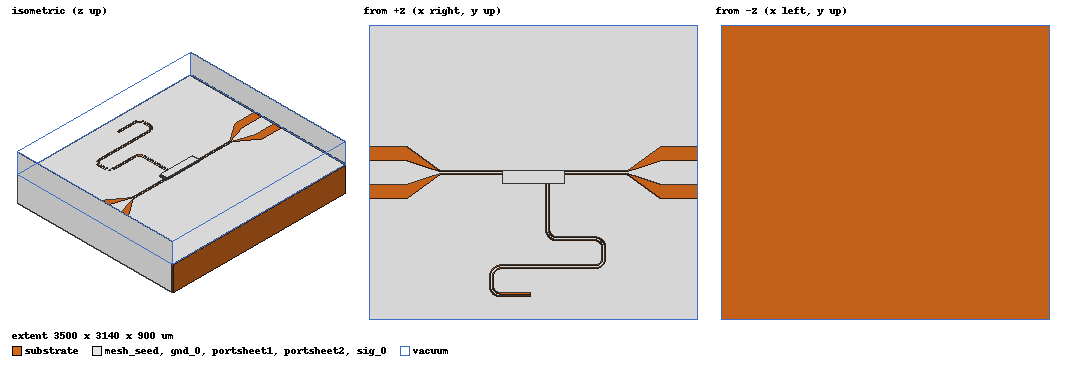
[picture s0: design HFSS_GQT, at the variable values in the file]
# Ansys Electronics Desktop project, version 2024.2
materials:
  vacuum: permittivity=1
  silicon_er1145_lossy: permittivity=11.45 permeability=1 dielectric_loss_tangent=1.2e-05

design HFSS_GQT (HFSS, HFSS Modal Network, model units um)
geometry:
  substrate [silicon_er1145_lossy] = box(corner=(-1750um, -1570um, -500um), size=(3500um, 3140um, 500um))
  vacuum [vacuum] = box(corner=(-1750um, -1570um, 0um), size=(3500um, 3140um, 400um))
  sig_0 = polyline(z=0um, xy in um: (300, 10) (970, 10) (1000, 10) (1350, 125) (1750, 125) (1750, -125) (1350, -125) (1000, -10) (970, -10) (300, -10) (-300, -10) (-970, -10) (-1000, -10) (-1350, -125) (-1750, -125) (-1750, 125) (-1350, 125) (-1000, 10) (-970, 10) (-300, 10) (300, 10), closed, covered)
  gnd_0 = polyline(z=0um, xy in um: (-1350, 275) (-1750, 275) (-1750, 1570) (1750, 1570) (1750, 275) (1350, 275) (1000, 21.5) (692.824, 21.5) (161.519, 21.5) (-392.859, 21.5) (-1000, 21.5) (-1350, 275), closed, covered)
  gnd_1 = polyline(z=0um, xy in um: (-1350, -275) (-1000, -21.5) (-392.859, -21.5) (161.519, -21.5) (692.824, -21.5) (1000, -21.5) (1350, -275) (1750, -275) (1750, -1570) (-1750, -1570) (-1750, -275) (-1350, -275), closed, covered)
  gnd_1_h0 = polyline(z=0um, xy in um: (158.948, -66.535) (157.563, -64.588) (156.113, -62.688) (154.601, -60.838) (153.028, -59.039) (151.396, -57.294) (149.706, -55.604) (147.961, -53.972) (146.162, -52.399) (144.312, -50.887) (142.412, -49.437) (140.465, -48.052) (138.473, -46.733) (136.438, -45.481) (134.362, -44.298) (132.247, -43.185) (130.097, -42.143) (127.913, -41.174) (125.698, -40.278) (123.454, -39.456) (121.184, -38.71) (118.89, -38.04) (116.575, -37.448) (114.242, -36.933) (111.893, -36.496) (109.53, -36.138) (107.157, -35.859) (104.776, -35.66) (102.389, -35.54) (100, -35.5) (-161.5, -35.5) (-161.5, -78.5) (100, -78.5) (101.492, -78.539) (102.979, -78.656) (104.458, -78.851) (105.925, -79.123) (107.376, -79.471) (108.807, -79.895) (110.213, -80.393) (111.592, -80.964) (112.939, -81.606) (114.25, -82.318) (115.522, -83.098) (116.752, -83.943) (117.936, -84.851) (119.07, -85.82) (120.153, -86.847) (121.18, -87.93) (122.149, -89.064) (123.057, -90.248) (123.902, -91.478) (124.682, -92.75) (125.394, -94.061) (126.036, -95.408) (126.607, -96.787) (127.105, -98.193) (127.529, -99.624) (127.877, -101.075) (128.149, -102.542) (128.344, -104.021) (128.461, -105.508) (128.5, -107) (128.5, -607) (128.54, -610.128) (128.661, -613.255) (128.862, -616.377) (129.144, -619.493) (129.506, -622.6) (129.947, -625.698) (130.469, -628.783) (131.069, -631.853) (131.748, -634.907) (132.506, -637.943) (133.342, -640.958) (134.255, -643.95) (135.245, -646.918) (136.31, -649.859) (137.452, -652.772) (138.667, -655.655) (139.957, -658.506) (141.32, -661.322) (142.755, -664.102) (144.26, -666.845) (145.836, -669.547) (147.481, -672.209) (149.194, -674.827) (150.974, -677.4) (152.82, -679.926) (154.729, -682.404) (156.703, -684.832) (158.737, -687.208) (160.833, -689.532) (161.519, -690.254) (162.988, -691.8) (165.2, -694.012) (167.468, -696.167) (169.792, -698.263) (172.168, -700.297) (174.596, -702.271) (177.074, -704.18) (179.6, -706.026) (182.173, -707.806) (184.791, -709.519) (187.453, -711.164) (190.155, -712.74) (192.898, -714.245) (195.678, -715.68) (198.494, -717.043) (201.345, -718.333) (204.228, -719.548) (207.141, -720.69) (210.082, -721.755) (213.05, -722.745) (216.042, -723.658) (219.057, -724.494) (222.093, -725.252) (225.147, -725.931) (228.217, -726.531) (231.302, -727.053) (234.4, -727.494) (237.507, -727.856) (240.623, -728.138) (243.745, -728.339) (246.872, -728.46) (250, -728.5) (650, -728.5) (652.516, -728.54) (655.03, -728.661) (657.538, -728.863) (660.038, -729.144) (662.529, -729.506) (665.006, -729.948) (667.468, -730.468) (669.912, -731.067) (672.335, -731.745) (674.736, -732.499) (677.111, -733.33) (679.458, -734.237) (681.775, -735.219) (684.06, -736.274) (686.309, -737.402) (688.521, -738.601) (690.694, -739.871) (692.824, -741.21) (694.911, -742.616) (696.952, -744.089) (698.944, -745.626) (700.886, -747.226) (702.776, -748.888) (704.611, -750.61) (706.39, -752.389) (708.112, -754.224) (709.774, -756.114) (711.374, -758.056) (712.911, -760.048) (714.384, -762.089) (715.79, -764.176) (717.129, -766.306) (718.399, -768.479) (719.598, -770.691) (720.726, -772.94) (721.781, -775.225) (722.763, -777.542) (723.67, -779.889) (724.501, -782.264) (725.255, -784.665) (725.933, -787.088) (726.532, -789.532) (727.052, -791.994) (727.494, -794.471) (727.856, -796.962) (728.137, -799.462) (728.339, -801.97) (728.46, -804.484) (728.5, -807) (728.5, -907) (728.46, -909.516) (728.339, -912.03) (728.137, -914.538) (727.856, -917.038) (727.494, -919.529) (727.052, -922.006) (726.532, -924.468) (725.933, -926.912) (725.255, -929.335) (724.501, -931.736) (723.67, -934.111) (722.763, -936.458) (721.781, -938.775) (720.726, -941.06) (719.598, -943.309) (718.399, -945.521) (717.129, -947.694) (715.79, -949.824) (714.384, -951.911) (712.911, -953.952) (711.374, -955.944) (709.774, -957.886) (708.112, -959.776) (706.39, -961.611) (704.611, -963.39) (702.776, -965.112) (700.886, -966.774) (698.944, -968.374) (696.952, -969.911) (694.911, -971.384) (692.824, -972.79) (690.694, -974.129) (688.521, -975.399) (686.309, -976.598) (684.06, -977.726) (681.775, -978.781) (679.458, -979.763) (677.111, -980.67) (674.736, -981.501) (672.335, -982.255) (669.912, -982.933) (667.468, -983.532) (665.006, -984.052) (662.529, -984.494) (660.038, -984.856) (657.538, -985.137) (655.03, -985.339) (652.516, -985.46) (650, -985.5) (161.519, -985.5) (-350, -985.5) (-353.128, -985.54) (-356.255, -985.661) (-359.377, -985.862) (-362.493, -986.144) (-365.6, -986.506) (-368.698, -986.947) (-371.783, -987.469) (-374.853, -988.069) (-377.907, -988.748) (-380.943, -989.506) (-383.958, -990.342) (-386.95, -991.255) (-389.918, -992.245) (-392.859, -993.31) (-395.772, -994.452) (-398.655, -995.667) (-401.506, -996.957) (-404.322, -998.32) (-407.102, -999.755) (-409.845, -1001.26) (-412.547, -1002.836) (-415.209, -1004.481) (-417.827, -1006.194) (-420.4, -1007.974) (-422.926, -1009.82) (-425.404, -1011.729) (-427.832, -1013.703) (-430.208, -1015.737) (-432.532, -1017.833) (-434.8, -1019.988) (-437.012, -1022.2) (-439.167, -1024.468) (-441.263, -1026.792) (-443.297, -1029.168) (-445.271, -1031.596) (-447.18, -1034.074) (-449.026, -1036.6) (-450.806, -1039.173) (-452.519, -1041.791) (-454.164, -1044.453) (-455.74, -1047.155) (-457.245, -1049.898) (-458.68, -1052.678) (-460.043, -1055.494) (-461.333, -1058.345) (-462.548, -1061.228) (-463.69, -1064.141) (-464.755, -1067.082) (-465.745, -1070.05) (-466.658, -1073.042) (-467.494, -1076.057) (-468.252, -1079.093) (-468.931, -1082.147) (-469.531, -1085.217) (-470.053, -1088.302) (-470.494, -1091.4) (-470.856, -1094.507) (-471.138, -1097.623) (-471.339, -1100.745) (-471.46, -1103.872) (-471.5, -1107) (-471.5, -1207) (-471.46, -1210.128) (-471.339, -1213.255) (-471.138, -1216.377) (-470.856, -1219.493) (-470.494, -1222.6) (-470.053, -1225.698) (-469.531, -1228.783) (-468.931, -1231.853) (-468.252, -1234.907) (-467.494, -1237.943)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, closed, covered)
  gnd_1.subtract(gnd_1_h0)
  gnd_0.unite(gnd_1)
  mesh_seed [vacuum] = box(corner=(-330um, -115um, -25um), size=(660um, 140um, 50um))
  portsheet1 = polyline(x=-1750um, yz in um: (-1570, -500) (1570, -500) (1570, 400) (-1570, 400) (-1570, -500), closed, covered)
  portsheet2 = polyline(x=1750um, yz in um: (-1570, -500) (1570, -500) (1570, 400) (-1570, 400) (-1570, -500), closed, covered)
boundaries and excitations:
  PerfE_sig: Perfect E Objects=sig_0
  PerfE_gnd: Perfect E Objects=gnd_0
  PerfE_backplane: Perfect E Faces=substrate.face(-z)
  p1: Wave Port Objects=portsheet1 WavePortType=Modal NumModes=1 Modes{Mode1{IntLine{(-1750, 0, 0) -> (-1750, 136, 0)} CharImp=Zpi}}
  p2: Wave Port Objects=portsheet2 WavePortType=Modal NumModes=1 Modes{Mode1{IntLine{(1750, 0, 0) -> (1750, 136, 0)} CharImp=Zpi}}
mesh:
  seed_coupler: LengthBased RefineInside Objects=mesh_seed NumMaxElem=300000 MaxLength=3um
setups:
  Setup1: HfssDriven Frequency=8.546GHz MaxDeltaS=0.02 MaximumPasses=30 MinimumPasses=1 MinimumConvergedPasses=2 PercentRefinement=30 BasisOrder=1 PortAccuracy=2 DrivenSolverType="Direct Solver"
    sweep Sweep1: 8.35GHz to 8.75GHz, 8001 points; Type=Fast
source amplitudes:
  p1:1: 1W 0deg
  p2:1: 0W 0deg
